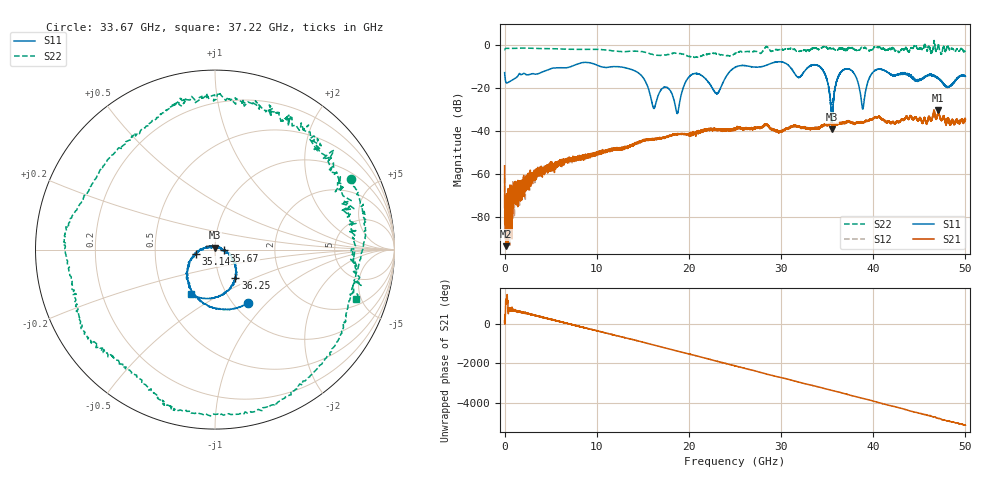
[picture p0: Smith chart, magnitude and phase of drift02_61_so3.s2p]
!Created with skrf (http://scikit-rf.org).
# Hz S RI R 50.0
!freq ReS11 ImS11 ReS21 ImS21 ReS12 ImS12 ReS22 ImS22
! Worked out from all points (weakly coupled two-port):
!   10001 points, 300 kHz to 50 GHz, reference 50 ohm
!   highest |S21| = -30.21 dB at 47.07 GHz (marker M1); lowest = -93.8 dB at 165.3 MHz (marker M2)
!   lowest |S11| = -39.2 dB at 35.51 GHz (marker M3), VSWR 1.02, Z = 50 + j1.09 ohm
!   |S11| at or under -10 dB: start of sweep to 7.177 GHz; 12.36 GHz to 25.16 GHz (12.8 GHz wide, 68.2 % of centre); 34.2 GHz to end of sweep (the widest 3 of 18)
!   |S22| runs from -5.7 to 2.2 dB; largest |S21 - S12| = 0.0034
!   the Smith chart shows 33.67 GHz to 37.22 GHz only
!   S11 on the Smith chart (normalised r, x): 33.67 GHz: 1.16, -0.79; 35.14 GHz: 0.81, -0.04; 35.67 GHz: 1.11, -0.01; 36.25 GHz: 1.19, -0.39; 37.22 GHz: 0.68, -0.37
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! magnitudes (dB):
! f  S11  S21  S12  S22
! 300 kHz  -12.8  -56.3  -61.9  -2.1
! 165.3 MHz  -17.5  -93.8  -76.7  -1.4
! 8.335 GHz  -8.2  -51.8  -52.4  -1.9
! 14.03 GHz  -11.7  -46.4  -46.2  -2.8
! 16.15 GHz  -29.2  -44.1  -43.9  -4.4
! 16.67 GHz  -23.4  -43.7  -43.6  -4.7
! 18.74 GHz  -31.8  -41.9  -41.4  -3.7
! 20.24 GHz  -13.9  -41.4  -41.5  -5.4
! 23.04 GHz  -22.6  -39.1  -39.4  -4.1
! 25 GHz  -10.4  -38.8  -39.4  -3.9
! 33.34 GHz  -9.3  -38.6  -38.8  -1.5
! 33.67 GHz  -9.1  -38.9  -38.7  -1.4
! 35.14 GHz  -19.2  -37.2  -37.2  -1.7
! 35.51 GHz  -39.2  -37.0  -36.6  -1.8
! 35.67 GHz  -25.8  -36.9  -36.6  -1.5
! 36.25 GHz  -14.3  -36.6  -36.6  -1.7
! 37.22 GHz  -11.0  -35.9  -35.5  -1.6
! 38.86 GHz  -29.9  -35.9  -35.8  -1.3
! 39.96 GHz  -12.7  -34.3  -34.4  -1.9
! 41.67 GHz  -12.9  -35.6  -35.6  -1.9
! 47.07 GHz  -15.2  -30.2  -30.7  0.9
! 50 GHz  -14.5  -34.6  -34.4  -2.7
